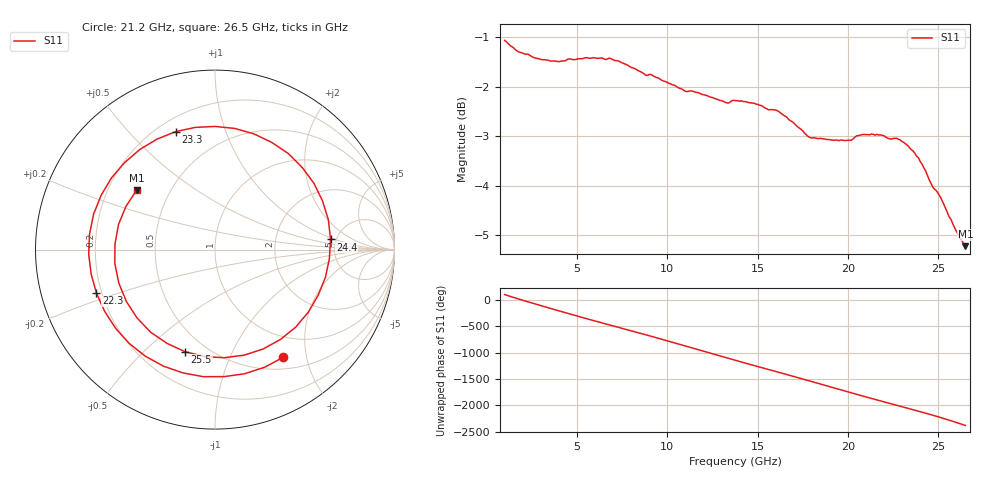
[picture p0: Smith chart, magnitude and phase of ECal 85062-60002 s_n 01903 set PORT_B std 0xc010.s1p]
!Created with skrf (http://scikit-rf.org).
# Hz S RI R 50.0
!freq ReS11 ImS11
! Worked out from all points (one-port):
!   256 points, 1 GHz to 26.5 GHz, reference 50 ohm
!   lowest |S11| = -5.2 dB at 26.5 GHz (marker M1), VSWR 3.43, Z = 16.1 + j15.2 ohm
!   |S11| at or under -10 dB: nowhere
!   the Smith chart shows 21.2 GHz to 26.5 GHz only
!   S11 on the Smith chart (normalised r, x): 21.2 GHz: 0.66, -1.61; 22.3 GHz: 0.18, -0.17; 23.3 GHz: 0.27, +0.69; 24.4 GHz: 4.48, +0.87; 25.5 GHz: 0.38, -0.68; 26.5 GHz: 0.32, +0.30
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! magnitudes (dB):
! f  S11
! 1 GHz  -1.1
! 1.7 GHz  -1.3
! 2.6 GHz  -1.4
! 4.2 GHz  -1.5
! 5.9 GHz  -1.4
! 6.8 GHz  -1.4
! 7.4 GHz  -1.5
! 10.6 GHz  -2.0
! 13.3 GHz  -2.3
! 13.8 GHz  -2.3
! 16.1 GHz  -2.5
! 17 GHz  -2.7
! 17.9 GHz  -3.0
! 20.2 GHz  -3.1
! 20.5 GHz  -3.0
! 21.2 GHz  -3.0
! 21.9 GHz  -3.0
! 22.3 GHz  -3.1
! 22.7 GHz  -3.0
! 23.3 GHz  -3.2
! 23.4 GHz  -3.2
! 23.9 GHz  -3.4
! 24.4 GHz  -3.8
! 24.7 GHz  -4.0
! 25.1 GHz  -4.2
! 25.5 GHz  -4.5
! 26.2 GHz  -5.1
! 26.5 GHz  -5.2
